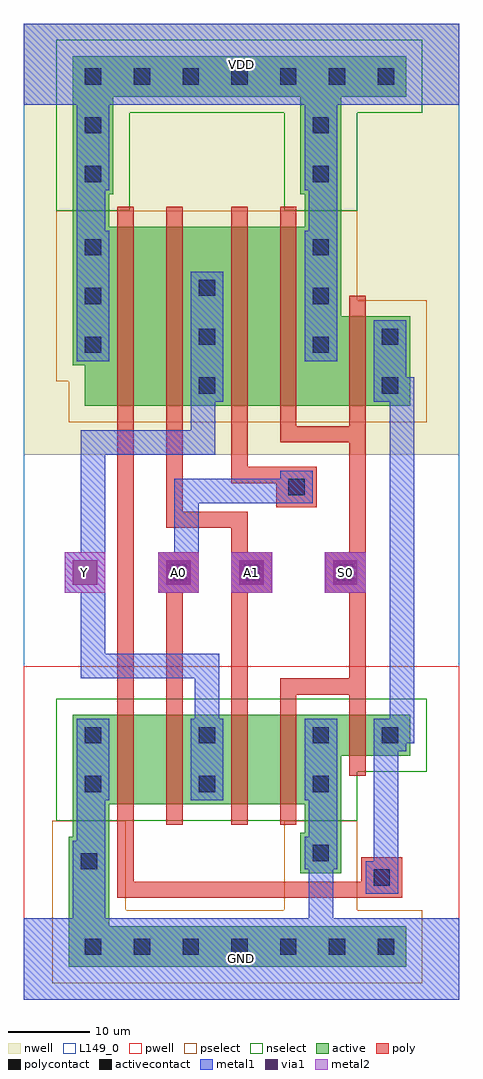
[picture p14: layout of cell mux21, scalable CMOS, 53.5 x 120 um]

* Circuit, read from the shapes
.subckt mux21 A0 A1 GND S0 VDD Y
M1 n1 n2 GND GND nfet w=11u l=2u
M2 Y A0 n1 GND nfet w=11u l=2u
M3 n3 A1 Y GND nfet w=11u l=2u
M4 GND S0 n3 GND nfet w=11u l=2u
M5 n2 S0 GND GND nfet w=5u l=2u
M6 n4 n2 VDD VDD pfet w=22u l=2u
M7 Y A1 n4 VDD pfet w=22u l=2u
M8 n5 A0 Y VDD pfet w=22u l=2u
M9 VDD S0 n5 VDD pfet w=22u l=2u
M10 n2 S0 VDD VDD pfet w=11u l=2u
.ends

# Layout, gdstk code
from math import pi, radians
import gdstk
lib = gdstk.Library(unit=1e-6, precision=1e-09)
def R(c, l, rs):  # rectangles x0, y0, x1, y1
    for r in rs: c.add(gdstk.rectangle(r[:2], r[2:], *l))
def A(c, l, x, y, w, h, nx, ny, dx, dy):  # array of equal rectangles
    R(c, l, [(x+i*dx, y+j*dy, x+i*dx+w, y+j*dy+h) for i in range(nx) for j in range(ny)])
def P(c, l, *ps):  # polygons
    for p in ps: c.add(gdstk.Polygon(p, *l))
pwell = (41, 0)
nwell = (42, 0)
active = (43, 0)
pselect = (44, 0)
nselect = (45, 0)
poly = (46, 0)
polycontact = (47, 0)
activecontact = (48, 0)
metal1 = (49, 0)
via1 = (50, 0)
metal2 = (51, 0)
L149_0 = (149, 0)

via = lib.new_cell('via')
R(via, metal1, [(-2.5,-2.5,2.5,2.5)])
R(via, via1, [(-1.5,-1.5,1.5,1.5)])
R(via, metal2, [(-2.5,-2.5,2.5,2.5)])

mux21 = lib.new_cell('mux21')
R(mux21, pwell, [(0,0,53.5,41)])
P(mux21, pwell, [(45,18),(45,24),(53.5,24),(53.5,41),(0,41),(0,18)])
R(mux21, nwell, [(0,67,53.5,120)])
P(mux21, nwell, [(53.5,67),(53.5,90),(45,90),(45,101),(0,101),(0,72),(1.5,72),(1.5,67)])
R(mux21, active, [(5.5,4,47,9), (5.5,9,10.5,20), (34,15.5,39,20.5), (6,20,10.5,24), (34.5,20.5,39,24), (6,24,11.5,35), (42,30,47.5,35), (42,73,47.5,84), (6,95,10.5,99), (34.5,95,39,99), (6,99,11,111), (34,99,39,111), (6,111,47,116)])
P(mux21, active, [(39,24),(39,30),(47.5,30),(47.5,35),(6,35),(6,24)],
  [(47.5,73),(47.5,84),(39,84),(39,95),(6,95),(6,78),(7.5,78),(7.5,73)],
  [(11.5,73),(11.5,95),(6,95),(6,78),(7.5,78),(7.5,73)])
R(mux21, pselect, [(3.5,2,49,11), (3.5,11,12.5,22), (32,11,41,22)])
P(mux21, pselect, [(49.5,71),(49.5,86),(41,86),(41,97),(4,97),(4,76),(5.5,76),(5.5,71)])
R(mux21, nselect, [(4,97,13,109), (32,97,41,109), (4,109,49,118)])
P(mux21, nselect, [(41,22),(41,28),(49.5,28),(49.5,37),(4,37),(4,22)])
R(mux21, poly, [(41.5,12.5,46.5,17.5), (11.5,21.5,13.5,24), (17.5,21.5,19.5,24), (25.5,21.5,27.5,24), (31.5,21.5,33.5,24), (11.5,24,13.5,35), (17.5,24,19.5,35), (25.5,24,27.5,35), (31.5,24,33.5,35), (40,27.5,42,30), (40,30,42,35), (11.5,35,13.5,37.5), (17.5,35,19.5,37.5), (25.5,35,27.5,37.5), (31.5,35,33.5,37.5), (40,35,42,37.5), (16.5,50,21.5,55), (25.5,50,30.5,55), (37,50,42,55), (31,60.5,36,65.5), (11.5,70.5,13.5,73), (17.5,70.5,19.5,73), (25.5,70.5,27.5,73), (31.5,70.5,33.5,73), (40,70.5,42,73), (11.5,73,13.5,95), (17.5,73,19.5,95), (25.5,73,27.5,95), (31.5,73,33.5,95), (40,73,42,84), (40,84,42,86.5), (11.5,95,13.5,97.5), (17.5,95,19.5,97.5), (25.5,95,27.5,97.5), (31.5,95,33.5,97.5)])
R(mux21, polycontact, [(43,14,45,16), (18,51.5,20,53.5), (27,51.5,29,53.5), (38.5,51.5,40.5,53.5), (32.5,62,34.5,64)])
A(mux21, activecontact, 7.5, 5.5, 2, 2, 7, 2, 6, 107)
A(mux21, activecontact, 7.5, 25.5, 2, 2, 3, 2, 14, 6)
A(mux21, activecontact, 21.5, 74.5, 2, 2, 1, 3, 0, 6)
A(mux21, activecontact, 7.5, 79.5, 2, 2, 1, 3, 0, 6)
A(mux21, activecontact, 35.5, 79.5, 2, 2, 1, 3, 0, 6)
R(mux21, activecontact, [(7,16,9,18), (35.5,17,37.5,19), (44,31.5,46,33.5), (44,74.5,46,76.5), (44,80.5,46,82.5), (7.5,100.5,9.5,102.5), (35.5,100.5,37.5,102.5), (7.5,106.5,9.5,108.5), (35.5,106.5,37.5,108.5)])
A(mux21, metal1, 6.5, 24.5, 4, 10, 3, 1, 14, 0)
R(mux21, metal1, [(0,0,53.5,10), (6,10,10,19.5), (35,10,38,16), (42,13,46,17), (34.5,16,38.5,20), (6.5,19.5,10,24.5), (35,20,38.5,24.5), (43,30.5,47,34.5), (17,50.5,21,54.5), (26,50.5,30,54.5), (37.5,50.5,41.5,54.5), (31.5,61,35.5,65), (20.5,73.5,24.5,89.5), (43,73.5,47,83.5), (6.5,78.5,10.5,94.5), (34.5,78.5,38.5,94.5), (6.5,94.5,10,99.5), (35,94.5,38.5,99.5), (6.5,99.5,10.5,110), (34.5,99.5,38.5,110), (0,110,53.5,120)])
R(mux21, metal2, [(5,50,10,55), (16.5,50,21.5,55), (25.5,50,30.5,55), (37,50,42,55)])
R(mux21, L149_0, [(0,0,53.5,120)])
mux21.add(gdstk.FlexPath([(8.5,50),(8.5,41),(22.5,41),(22.5,34.5)], 3, ends="flush", simple_path=True, layer=49, datatype=0))  # metal1
mux21.add(gdstk.FlexPath([(46.5,31.5),(46.5,76.5)], 3, ends="flush", simple_path=True, layer=49, datatype=0))  # metal1
mux21.add(gdstk.FlexPath([(31.5,62.5),(20,62.5),(20,55)], 3, ends="flush", simple_path=True, layer=49, datatype=0))  # metal1
mux21.add(gdstk.FlexPath([(22,73.5),(22,68.5),(8.5,68.5),(8.5,55)], 3, ends="flush", simple_path=True, layer=49, datatype=0))  # metal1
mux21.add(gdstk.FlexPath([(44.5,30.5),(44.5,17)], 3, ends="flush", simple_path=True, layer=49, datatype=0))  # metal1
mux21.add(gdstk.FlexPath([(18.5,37.5),(18.5,50)], 2, ends="flush", simple_path=True, layer=46, datatype=0))  # poly
mux21.add(gdstk.FlexPath([(12.5,70.5),(12.5,37.5)], 2, ends="flush", simple_path=True, layer=46, datatype=0))  # poly
mux21.add(gdstk.FlexPath([(31.5,38.5),(40,38.5)], 2, ends="flush", simple_path=True, layer=46, datatype=0))  # poly
mux21.add(gdstk.FlexPath([(26.5,70.5),(26.5,64.5),(31,64.5)], 2, ends="flush", simple_path=True, layer=46, datatype=0))  # poly
mux21.add(gdstk.FlexPath([(26.5,55),(26.5,59),(18.5,59),(18.5,70.5)], 2, ends="flush", simple_path=True, layer=46, datatype=0))  # poly
mux21.add(gdstk.FlexPath([(26.5,37.5),(26.5,50)], 2, ends="flush", simple_path=True, layer=46, datatype=0))  # poly
mux21.add(gdstk.FlexPath([(31.5,69.5),(40,69.5)], 2, ends="flush", simple_path=True, layer=46, datatype=0))  # poly
mux21.add(gdstk.FlexPath([(41,70.5),(41,37.5)], 2, ends="flush", simple_path=True, layer=46, datatype=0))  # poly
mux21.add(gdstk.FlexPath([(12.5,21.5),(12.5,13.5),(41.5,13.5)], 2, ends="flush", simple_path=True, layer=46, datatype=0))  # poly
mux21.add(gdstk.Reference(via, (39.5,52.5), rotation=pi, x_reflection=True))
mux21.add(gdstk.Reference(via, (28,52.5)))
mux21.add(gdstk.Reference(via, (7.5,52.5)))
mux21.add(gdstk.Reference(via, (19,52.5)))
mux21.add(gdstk.Label('GND', (26.75,5), layer=2, texttype=0))
mux21.add(gdstk.Label('VDD', (26.75,115), layer=2, texttype=0))
mux21.add(gdstk.Label('Y', (7.5,52.5), layer=3, texttype=0))
mux21.add(gdstk.Label('S0', (39.5,52.5), layer=3, texttype=0))
mux21.add(gdstk.Label('A1', (28,52.5), layer=3, texttype=0))
mux21.add(gdstk.Label('A0', (19,52.5), layer=3, texttype=0))
mux21.add(gdstk.Label('GND', (26.75,5), layer=2, texttype=0))
mux21.add(gdstk.Label('VDD', (26.75,115), layer=2, texttype=0))
mux21.add(gdstk.Label('Y', (7.5,52.5), layer=3, texttype=0))
mux21.add(gdstk.Label('S0', (39.5,52.5), layer=3, texttype=0))
mux21.add(gdstk.Label('A1', (28,52.5), layer=3, texttype=0))
mux21.add(gdstk.Label('A0', (19,52.5), layer=3, texttype=0))

lib.write_gds('mux21.gds')
